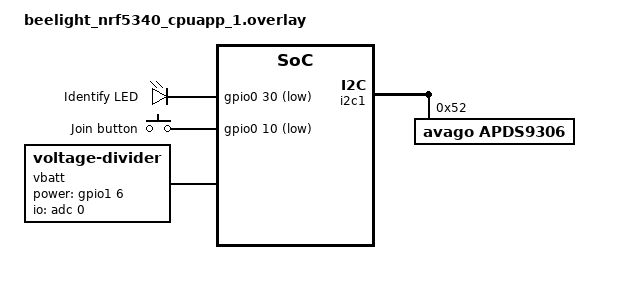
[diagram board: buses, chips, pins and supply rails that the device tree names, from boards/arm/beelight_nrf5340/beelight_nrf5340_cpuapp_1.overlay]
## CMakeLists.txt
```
cmake_minimum_required(VERSION 3.20.0)

find_package(Zephyr REQUIRED HINTS $ENV{ZEPHYR_BASE})

project(BeeLight)

# Get the target hardware
string(REGEX MATCH "beelight_nrf5340_cpuapp(_ns)?@([0-9]+)$" BEELIGHT_BOARD "${BOARD}")
if(BEELIGHT_BOARD)
    string(CONCAT VERSION_STRING "\"" ${CMAKE_MATCH_2} "\"")
    set(CONFIG_BEELIGHT_PCB_REV ${CMAKE_MATCH_2} CACHE INTERNAL "")
    set(CONFIG_BT_DIS_HW_REV_STR ${VERSION_STRING} CACHE INTERNAL "")

    message("PCB revision: " ${CONFIG_BEELIGHT_PCB_REV})
endif()

add_subdirectory(drivers)
add_subdirectory(src/events)
add_subdirectory(src/sensors)

include_directories(src/)

target_sources(app PRIVATE
                   src/main.c
)

target_include_directories(app PRIVATE
                               src/sensors
                               src/events
)
```

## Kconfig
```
menu "Zephyr Kernel"
    source "Kconfig.zephyr"
endmenu

menu "BeeLight"
    menu "Configuration"
        config CONFIG_BATTERY_SAMPLE_TIME_MIN
            int
        range 1 3600
        prompt "Battery sample time in minutes"
        default 5
    endmenu

    menu "Logging"
        rsource "src/events/Kconfig"
        rsource "src/sensors/Kconfig"
    endmenu

    menu "Custom drivers"
        rsource "drivers/Kconfig"
    endmenu
endmenu
```

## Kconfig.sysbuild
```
source "${ZEPHYR_BASE}/share/sysbuild/Kconfig"

config NRF_DEFAULT_IPC_RADIO
	default y

config NETCORE_IPC_RADIO_IEEE802154
	default y
```

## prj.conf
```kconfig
# ZBUS configuration
CONFIG_ZBUS=y
CONFIG_ZBUS_RUNTIME_OBSERVERS=y
CONFIG_ZBUS_CHANNEL_NAME=y
CONFIG_ZBUS_OBSERVER_NAME=y
CONFIG_ZBUS_CHANNELS_SYS_INIT_PRIORITY=1

# Enable DK LED and Buttons library (used by ZigBee utils)
CONFIG_DK_LIBRARY=y

# Networking
CONFIG_NET_IPV6=n
CONFIG_NET_IP_ADDR_CHECK=n

CONFIG_ZIGBEE=y
CONFIG_ZIGBEE_APP_UTILS=y
CONFIG_ZIGBEE_ROLE_END_DEVICE=y

# Scene extension
CONFIG_ZIGBEE_SCENES=n

CONFIG_ZIGBEE_USE_SOFTWARE_AES=y
CONFIG_ZIGBEE_CHANNEL_SELECTION_MODE_MULTI=y
```

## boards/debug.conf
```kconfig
CONFIG_LOG=y
CONFIG_LOG_PRINTK=y

CONFIG_DEBUG_OPTIMIZATIONS=y
CONFIG_USE_SEGGER_RTT=y
CONFIG_LOG_BACKEND_RTT=y
CONFIG_LOG_BACKEND_RTT_MODE_BLOCK=y
CONFIG_LOG_BUFFER_SIZE=4096
CONFIG_LOG_BACKEND_RTT_OUTPUT_BUFFER_SIZE=128
CONFIG_LOG_BLOCK_IN_THREAD=y
```

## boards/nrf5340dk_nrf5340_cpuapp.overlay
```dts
/ {
	chosen {
		ncs,zigbee-timer = &timer2;
	};
};

&pinctrl {
	pwm0_default_alt: pwm0_default_alt {
		group1 {
			psels = <NRF_PSEL(PWM_OUT1, 0, 31)>;
			nordic,invert;
		};
	};
};

&timer2 {
	status = "okay";
};

&i2c1 {
	bh1750: bh1750@23 {
		status = "okay";
		compatible = "rohm,bh1750";
		reg = <0x23>;
	};
};
```

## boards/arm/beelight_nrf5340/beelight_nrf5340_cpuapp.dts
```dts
/*
 * Copyright (c) 2025 Daniel Kampert
 *
 * SPDX-License-Identifier: Apache-2.0
 */

/dts-v1/;
#include <nordic/nrf5340_cpuapp_qkaa.dtsi>

#include "beelight_cpuapp_common.dtsi"

/ {
    chosen {
        zephyr,sram = &sram0_image;
        zephyr,flash = &flash0;
        zephyr,code-partition = &slot0_partition;
        zephyr,sram-secure-partition = &sram0_s;
        zephyr,sram-non-secure-partition = &sram0_ns;
    };
};
```

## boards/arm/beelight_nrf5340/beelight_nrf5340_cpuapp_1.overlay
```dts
/*
 * Copyright (c) 2025 Daniel Kampert
 *
 * SPDX-License-Identifier: Apache-2.0
 */

/ {
    leds {
        status = "okay";

        identify: led_identify {
            gpios = <&gpio0 30 GPIO_ACTIVE_LOW>;
            label = "Identify LED";
        };
    };

    buttons {
        status = "okay";
        compatible = "gpio-keys";

        join: button_join {
            gpios = <&gpio0 10 (GPIO_PULL_UP | GPIO_ACTIVE_LOW)>;
            label = "Join button";
            zephyr,code = <INPUT_KEY_3>;
        };
    };

    vbatt {
        status = "okay";
        compatible = "voltage-divider";
        io-channels = <&adc 0>;
        output-ohms = <2200>;
        full-ohms = <(8200 + 2200)>;
        power-gpios = <&gpio1 6 0>;
    };
};

&i2c1 {
    apds9306: apds9306@52 {
        status = "okay";
        compatible = "avago,apds9306";
        reg = <0x52>;
        gain = <0>;
        resolution = <0>;
        frequency = <0>;
    };
};
```

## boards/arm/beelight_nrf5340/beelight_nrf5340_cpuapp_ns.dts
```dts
/*
 * Copyright (c) 2023 Jakob Krantz
 *
 * SPDX-License-Identifier: Apache-2.0
 */

/dts-v1/;
#include <nordic/nrf5340_cpuapp_qkaa.dtsi>

#include "beelight_cpuapp_common.dtsi"

/ {
    chosen {
        zephyr,sram = &sram0_ns_app;
        zephyr,flash = &flash0;
        zephyr,code-partition = &slot0_ns_partition;
    };
};
```

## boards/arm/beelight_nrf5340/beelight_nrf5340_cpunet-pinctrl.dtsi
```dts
/*
 * Copyright (c) 2025 Daniel Kampert
 *
 * SPDX-License-Identifier: Apache-2.0
 */

&pinctrl {
    uart0_default: uart0_default {
        group1 {
            psels = <NRF_PSEL(UART_TX, 1, 1)>,
                    <NRF_PSEL(UART_RTS, 0, 11)>;
        };
        group2 {
            psels = <NRF_PSEL(UART_RX, 1, 0)>,
                    <NRF_PSEL(UART_CTS, 0, 10)>;
            bias-pull-up;
        };
    };

    uart0_sleep: uart0_sleep {
        group1 {
            psels = <NRF_PSEL(UART_TX, 1, 1)>,
                    <NRF_PSEL(UART_RX, 1, 0)>,
                    <NRF_PSEL(UART_RTS, 0, 11)>,
                    <NRF_PSEL(UART_CTS, 0, 10)>;
            low-power-enable;
        };
    };
};
```

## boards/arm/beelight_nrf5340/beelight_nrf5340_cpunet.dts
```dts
/*
 * Copyright (c) 2025 Daniel Kampert
 *
 * SPDX-License-Identifier: Apache-2.0
 */

/dts-v1/;
#include <nordic/nrf5340_cpunet_qkaa.dtsi>
#include <zephyr/dt-bindings/input/input-event-codes.h>

#include "beelight_common.dtsi"
#include "beelight_common-pinctrl.dtsi"

/ {
    model = "Nordic NRF5340 BeeLight Network";
    compatible = "nordic,beelight-nrf5340-cpunet";

    chosen {
        zephyr,bt-hci-ipc = &ipc0;
        nordic,802154-spinel-ipc = &ipc0;
        zephyr,sram = &sram1;
        zephyr,flash = &flash1;
        zephyr,code-partition = &slot0_partition;
        zephyr,ieee802154 = &ieee802154;
    };

    aliases {
        watchdog0 = &wdt0;
    };
};

&gpiote {
    status = "okay";
};

&gpio0 {
    status = "okay";
};

&gpio1 {
    status = "okay";
};

&uart0 {
    status = "disabled";
};

&flash1 {
    partitions {
        compatible = "fixed-partitions";
        #address-cells = <1>;
        #size-cells = <1>;

        boot_partition: partition@0 {
            label = "mcuboot";
            reg = <0x00000000 0xc000>;
        };
        slot0_partition: partition@c000 {
            label = "image-0";
            reg = <0x0000C000 0x17000>;
        };
        slot1_partition: partition@23000 {
            label = "image-1";
            reg = <0x00023000 0x17000>;
        };
        storage_partition: partition@3a000 {
            label = "storage";
            reg = <0x0003a000 0x6000>;
        };
    };
};

&ieee802154 {
    status = "okay";
};

/* Include default shared RAM configuration file */
#include <common/nordic/nrf5340_shared_sram_partition.dtsi>
```

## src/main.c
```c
/*
 * This file is part of the BeeLight project <https://github.com/Kampi/BeeLight>.
 * Copyright (c) 2025 Daniel Kampert.
 *
 * This program is free software: you can redistribute it and/or modify
 * it under the terms of the GNU General Public License as published by
 * the Free Software Foundation, version 3.
 *
 * This program is distributed in the hope that it will be useful, but
 * WITHOUT ANY WARRANTY; without even the implied warranty of
 * MERCHANTABILITY or FITNESS FOR A PARTICULAR PURPOSE. See the GNU
 * General Public License for more details.
 *
 * You should have received a copy of the GNU General Public License
 * along with this program. If not, see <http://www.gnu.org/licenses/>.
 */

#include <zephyr/types.h>
#include <zephyr/kernel.h>
#include <zephyr/zbus/zbus.h>
#include <zephyr/logging/log.h>
#include <zephyr/settings/settings.h>

#include <soc.h>
#include <dk_buttons_and_leds.h>

#include <zboss_api.h>
#include <zb_nrf_platform.h>
#include <zboss_api_addons.h>
#include <zb_mem_config_med.h>
#include <zigbee/zigbee_app_utils.h>
#include <zigbee/zigbee_error_handler.h>

#include "events.h"
#include "beelight.h"

/* LED indicating that light switch successfully joind Zigbee network. */
#define ZIGBEE_NETWORK_STATE_LED        DK_LED3

/* Version of the application software (1 byte). */
#define INIT_BASIC_APP_VERSION          01

/* Version of the implementation of the Zigbee stack (1 byte). */
#define INIT_BASIC_STACK_VERSION        10

/* Version of the hardware of the device (1 byte). */
#define INIT_BASIC_HW_VERSION           10

/* Manufacturer name (32 bytes). */
#define INIT_BASIC_MANUF_NAME           "Kampi"

/* Model number assigned by manufacturer (32-bytes long string). */
#define INIT_BASIC_MODEL_ID             "BeeLight_v1.0"

/* First 8 bytes specify the date of manufacturer of the device
 * in ISO 8601 format (YYYYMMDD). The rest (8 bytes) are manufacturer specific.
 */
#define INIT_BASIC_DATE_CODE            "20200329"

/* Describes the physical location of the device (16 bytes).
 * May be modified during commissioning process.
 */
#define INIT_BASIC_LOCATION_DESC        "Office desk"

/* Button used to enter the Bulb into the Identify mode. */
#define IDENTIFY_MODE_BUTTON            DK_BTN4_MSK

/* Button to start Factory Reset. */
#define FACTORY_RESET_BUTTON IDENTIFY_MODE_BUTTON

/* Define 'bat_num' as empty in order to declare default battery set attributes. */
/* According to Table 3-17 of ZCL specification, defining 'bat_num' as 2 or 3 allows */
/* to declare battery set attributes for BATTERY2 and BATTERY3. */
#define bat_num

LOG_MODULE_REGISTER(app, LOG_LEVEL_DBG);

/** @brief Zigbee device application context storage.
 */
static device_ctx_t dev_ctx;

/** @brief
 */
static void zbus_on_light_callback(const struct zbus_channel *chan);

/** @brief
 */
static void zbus_on_battery_callback(const struct zbus_channel *chan);

/** @brief Declare attribute list for Identify cluster (client).
 */
ZB_ZCL_DECLARE_IDENTIFY_CLIENT_ATTRIB_LIST(identify_client_attr_list);

/** @brief Declare attribute list for Identify cluster (server).
 */
ZB_ZCL_DECLARE_IDENTIFY_SERVER_ATTRIB_LIST(
    identify_server_attr_list,
    &dev_ctx.identify_attr.identify_time);

/** @brief
 */
ZB_ZCL_DECLARE_BASIC_ATTRIB_LIST_EXT(
    basic_attr_list,
    &dev_ctx.basic_attr.zcl_version,
    &dev_ctx.basic_attr.app_version,
    &dev_ctx.basic_attr.stack_version,
    &dev_ctx.basic_attr.hw_version,
    dev_ctx.basic_attr.mf_name,
    dev_ctx.basic_attr.model_id,
    dev_ctx.basic_attr.date_code,
    &dev_ctx.basic_attr.power_source,
    dev_ctx.basic_attr.location_id,
    &dev_ctx.basic_attr.ph_env,
    dev_ctx.basic_attr.sw_ver);

/** @brief Power cluster attributes additions data.
 */
ZB_ZCL_DECLARE_POWER_CONFIG_BATTERY_ATTRIB_LIST_EXT(
    power_attr_list,
    &dev_ctx.power_attr.voltage,
    &dev_ctx.power_attr.size,
    &dev_ctx.power_attr.quantity,
    &dev_ctx.power_attr.rated_voltage,
    &dev_ctx.power_attr.alarm_mask,
    &dev_ctx.power_attr.voltage_min_threshold,
    &dev_ctx.power_attr.percent_remaining,
    &dev_ctx.power_attr.voltage_threshold_1,
    &dev_ctx.power_attr.voltage_threshold_2,
    &dev_ctx.power_attr.voltage_threshold_3,
    &dev_ctx.power_attr.percent_min_threshold,
    &dev_ctx.power_attr.percent_threshold_1,
    &dev_ctx.power_attr.percent_threshold_2,
    &dev_ctx.power_attr.percent_threshold_3,
    &dev_ctx.power_attr.alarm_state);

/** @brief Illuminance cluster attributes additions data.
 */
ZB_ZCL_DECLARE_ILLUMINANCE_MEASUREMENT_ATTRIB_LIST(
    light_sensor_attr_list,
    &dev_ctx.illuminance_attr.measurement_attr,
    &dev_ctx.illuminance_attr.min_attr,
    &dev_ctx.illuminance_attr.max_attr);

ZB_DECLARE_LIGHT_SENSOR_CLUSTER_LIST(
    light_sensor_clusters,
    basic_attr_list,
    identify_client_attr_list,
    identify_server_attr_list,
    power_attr_list,
    light_sensor_attr_list);

ZB_DECLARE_LIGHT_SENSOR_EP(
    light_sensor_ep,
    LIGHT_SENSOR_ENDPOINT,
    light_sensor_clusters);

ZBOSS_DECLARE_DEVICE_CTX_1_EP(
    light_sensor_ctx,
    light_sensor_ep);

ZBUS_CHAN_DECLARE(light_data_chan);
ZBUS_LISTENER_DEFINE(light_data_lis, zbus_on_light_callback);

ZBUS_CHAN_DECLARE(battery_data_chan);
ZBUS_LISTENER_DEFINE(battery_data_lis, zbus_on_battery_callback);

/** @brief          Starts identifying the device.
 *  @param bufid    Unused parameter, required by ZBOSS scheduler API
 */
static void start_identifying(zb_bufid_t bufid)
{
    ZVUNUSED(bufid);

    if (ZB_JOINED()) {
        /* Check if endpoint is in identifying mode, if not, put desired endpoint in identifying mode. */
        if (dev_ctx.identify_attr.identify_time == ZB_ZCL_IDENTIFY_IDENTIFY_TIME_DEFAULT_VALUE) {

            zb_ret_t zb_err_code = zb_bdb_finding_binding_target(LIGHT_SENSOR_ENDPOINT);

            if (zb_err_code == RET_OK) {
                LOG_INF("Enter identify mode");
            } else if (zb_err_code == RET_INVALID_STATE) {
                LOG_WRN("RET_INVALID_STATE - Cannot enter identify mode");
            } else {
                ZB_ERROR_CHECK(zb_err_code);
            }
        } else {
            LOG_INF("Cancel identify mode");
            zb_bdb_finding_binding_target_cancel();
        }
    } else {
        LOG_WRN("Device not in a network - cannot enter identify mode");
    }
}

/** @brief              Callback for button events.
 *  @param button_state Bitmask containing the state of the buttons
 *  @param has_changed  Bitmask containing buttons that have changed their state
 */
static void button_changed(uint32_t button_state, uint32_t has_changed)
{
    if (IDENTIFY_MODE_BUTTON & has_changed) {
        if (IDENTIFY_MODE_BUTTON & button_state) {
        }
        /* Button changed its state to pressed */
        else {
            /* Button changed its state to released */
            if (was_factory_reset_done()) {
                /* The long press was for Factory Reset */
                LOG_DBG("After Factory Reset - ignore button release");
            }
            /* Button released before Factory Reset */
            else {

                /* Start identification mode */
                ZB_SCHEDULE_APP_CALLBACK(start_identifying, 0);
            }
        }
    }

    check_factory_reset_button(button_state, has_changed);
}

/** @brief          Function to toggle the identify LED.
 *  @param bufid    Unused parameter, required by ZBOSS scheduler API
 */
static void toggle_identify_led(zb_bufid_t bufid)
{
    static int blink_status;

    // light_bulb_set_brightness(((++blink_status) % 2) ? (255U) : (0U));
    ZB_SCHEDULE_APP_ALARM(toggle_identify_led, bufid, ZB_MILLISECONDS_TO_BEACON_INTERVAL(100));
}

/** @brief          Function to handle identify notification events.
 *  @param bufid    Unused parameter, required by ZBOSS scheduler API
 */
static void identify_cb(zb_bufid_t bufid)
{
    LOG_INF("A");

    if (bufid) {
        /* Schedule a self-scheduling function that will toggle the LED. */
        ZB_SCHEDULE_APP_CALLBACK(toggle_identify_led, bufid);
    } else {
        zb_ret_t zb_err_code;

        /* Cancel the toggling function alarm and restore current Zigbee LED state. */
        zb_err_code = ZB_SCHEDULE_APP_ALARM_CANCEL(toggle_identify_led, ZB_ALARM_ANY_PARAM);
        ZVUNUSED(zb_err_code);

        /*
        if (dev_ctx.on_off_attr.on_off) {
            light_bulb_set_brightness(dev_ctx.level_control_attr.current_level);
        } else {
            light_bulb_set_brightness(0U);
        }*/
    }
}

/** @brief Function for initializing all clusters attributes.
 */
static void clusters_attr_init(void)
{
    /* Basic cluster attributes data */
    dev_ctx.basic_attr.zcl_version = ZB_ZCL_VERSION;
    dev_ctx.basic_attr.app_version = INIT_BASIC_APP_VERSION;
    dev_ctx.basic_attr.stack_version = INIT_BASIC_STACK_VERSION;
    dev_ctx.basic_attr.hw_version = INIT_BASIC_HW_VERSION;

    /* Use ZB_ZCL_SET_STRING_VAL to set strings, because the first byte */
    /* should contain string length without trailing zero. */
    /* For example "test" string will be encoded as: */
    /*   [(0x4), 't', 'e', 's', 't'] */
    ZB_ZCL_SET_STRING_VAL(
        dev_ctx.basic_attr.mf_name,
        INIT_BASIC_MANUF_NAME,
        ZB_ZCL_STRING_CONST_SIZE(INIT_BASIC_MANUF_NAME)
    );

    ZB_ZCL_SET_STRING_VAL(
        dev_ctx.basic_attr.model_id,
        INIT_BASIC_MODEL_ID,
        ZB_ZCL_STRING_CONST_SIZE(INIT_BASIC_MODEL_ID)
    );

    ZB_ZCL_SET_STRING_VAL(
        dev_ctx.basic_attr.date_code,
        INIT_BASIC_DATE_CODE,
        ZB_ZCL_STRING_CONST_SIZE(INIT_BASIC_DATE_CODE)
    );

    dev_ctx.basic_attr.power_source = ZB_ZCL_BASIC_POWER_SOURCE_BATTERY;

    ZB_ZCL_SET_STRING_VAL(
        dev_ctx.basic_attr.location_id,
        INIT_BASIC_LOCATION_DESC,
        ZB_ZCL_STRING_CONST_SIZE(INIT_BASIC_LOCATION_DESC)
    );

    dev_ctx.basic_attr.ph_env = ZB_ZCL_BASIC_ENV_UNSPECIFIED;

    /* Identify cluster attributes data. */
    dev_ctx.identify_attr.identify_time = ZB_ZCL_IDENTIFY_IDENTIFY_TIME_DEFAULT_VALUE;

    /* Initialize the values for the Battery cluster attributes */
    dev_ctx.power_attr.size = ZB_ZCL_POWER_CONFIG_BATTERY_SIZE_CR2;
    dev_ctx.power_attr.voltage = 25;
    dev_ctx.power_attr.percent_remaining = 50;
    dev_ctx.power_attr.quantity = 1;
    dev_ctx.power_attr.rated_voltage = 30;

    ZB_ZCL_SET_ATTRIBUTE(
        LIGHT_SENSOR_ENDPOINT,
        ZB_ZCL_CLUSTER_ID_POWER_CONFIG,
        ZB_ZCL_CLUSTER_SERVER_ROLE,
        ZB_ZCL_ATTR_POWER_CONFIG_BATTERY_PERCENTAGE_REMAINING_ID,
        (zb_uint8_t *)&dev_ctx.power_attr.percent_remaining,
        ZB_FALSE
    );

    /* Initialize the values for the Illuminance measurement cluster attributes */
/*
    dev_ctx.illuminance_min_attr = 11;
    ZB_ZCL_SET_ATTRIBUTE(
        LIGHT_SENSOR_ENDPOINT,
        ZB_ZCL_CLUSTER_ID_ILLUMINANCE_MEASUREMENT,
        ZB_ZCL_CLUSTER_SERVER_ROLE,
        ZB_ZCL_ATTR_ILLUMINANCE_MEASUREMENT_MIN_MEASURED_VALUE_ID,
        (zb_uint8_t *)&dev_ctx.illuminance_min_attr,
        ZB_FALSE
    );

    dev_ctx.illuminance_max_attr = 200;
    ZB_ZCL_SET_ATTRIBUTE(
        LIGHT_SENSOR_ENDPOINT,
        ZB_ZCL_CLUSTER_ID_ILLUMINANCE_MEASUREMENT,
        ZB_ZCL_CLUSTER_SERVER_ROLE,
        ZB_ZCL_ATTR_ILLUMINANCE_MEASUREMENT_MAX_MEASURED_VALUE_ID,
        (zb_uint8_t *)&dev_ctx.illuminance_max_attr,
        ZB_FALSE
    );
*/
}

/** @brief          Callback function for handling ZCL commands.
 *  @param bufid    Reference to Zigbee stack buffer used to pass received data
 */
static void zcl_device_cb(zb_bufid_t bufid)
{
    zb_uint8_t attr_id;
    zb_uint8_t cluster_id;
    zb_zcl_device_callback_param_t *device_cb_param = ZB_BUF_GET_PARAM(bufid, zb_zcl_device_callback_param_t);

    LOG_INF("%s id %hd", __func__, device_cb_param->device_cb_id);

    /* Set default response value. */
    device_cb_param->status = RET_OK;

    switch (device_cb_param->device_cb_id)
    {
        case ZB_ZCL_SET_ATTR_VALUE_CB_ID:
        {
            cluster_id = device_cb_param->cb_param.set_attr_value_param.cluster_id;
            attr_id = device_cb_param->cb_param.set_attr_value_param.attr_id;

            break;
        }
        default:
        {
            device_cb_param->status = RET_NOT_IMPLEMENTED;
            break;
        }
    }

    LOG_INF("%s status: %hd", __func__, device_cb_param->status);
}

/** @brief          Zigbee stack event handler.
 *  @param bufid    Reference to the Zigbee stack buffer used to pass signal
 */
void zboss_signal_handler(zb_bufid_t bufid)
{
    /* Update network status LED. */
    zigbee_led_status_update(bufid, ZIGBEE_NETWORK_STATE_LED);

    /* No application-specific behavior is required. Call default signal handler. */
    ZB_ERROR_CHECK(zigbee_default_signal_handler(bufid));

    /* All callbacks should either reuse or free passed buffers. */
    /* If bufid == 0, the buffer is invalid (not passed). */
    if (bufid) {
        zb_buf_free(bufid);
    }
}

void zbus_on_light_callback(const struct zbus_channel *chan)
{
    const struct light_event *evt = zbus_chan_const_msg(chan);

    LOG_DBG("Value from light sensor: %u", evt->value);

    dev_ctx.illuminance_attr.measurement_attr = evt->value;
    ZB_ZCL_SET_ATTRIBUTE(
        LIGHT_SENSOR_ENDPOINT,
        ZB_ZCL_CLUSTER_ID_ILLUMINANCE_MEASUREMENT,
        ZB_ZCL_CLUSTER_SERVER_ROLE,
        ZB_ZCL_ATTR_ILLUMINANCE_MEASUREMENT_MEASURED_VALUE_ID,
        (zb_uint8_t *)&dev_ctx.illuminance_attr.measurement_attr,
        ZB_FALSE
    );
}

static void zbus_on_battery_callback(const struct zbus_channel *chan)
{
    const struct battery_event *evt = zbus_chan_const_msg(chan);

    LOG_DBG("Value from battery sensor: %u", evt->mV);

    /* Initialize the values for the Battery cluster attributes */
    dev_ctx.power_attr.voltage = 30;
    dev_ctx.power_attr.percent_remaining = 200;
    dev_ctx.power_attr.rated_voltage = 30;

    ZB_ZCL_SET_ATTRIBUTE(
        LIGHT_SENSOR_ENDPOINT,
        ZB_ZCL_CLUSTER_ID_POWER_CONFIG,
        ZB_ZCL_CLUSTER_SERVER_ROLE,
        ZB_ZCL_ATTR_POWER_CONFIG_BATTERY_PERCENTAGE_REMAINING_ID,
        (zb_uint8_t *)&dev_ctx.power_attr.percent_remaining,
        ZB_FALSE
    );
}

int main(void)
{
    dk_buttons_init(button_changed);
    dk_leds_init();

    register_factory_reset_button(FACTORY_RESET_BUTTON);

    /* Register callback for handling ZCL commands. */
    ZB_ZCL_REGISTER_DEVICE_CB(zcl_device_cb);

    /* Register dimmer switch device context (endpoints). */
    ZB_AF_REGISTER_DEVICE_CTX(&light_sensor_ctx);

    clusters_attr_init();

    /* Register handler to identify notifications. */
    ZB_AF_SET_IDENTIFY_NOTIFICATION_HANDLER(LIGHT_SENSOR_ENDPOINT, identify_cb);

    /* Start Zigbee default thread. */
    zigbee_enable();

    zbus_chan_add_obs(&light_data_chan, &light_data_lis, K_MSEC(100));
    zbus_chan_add_obs(&battery_data_chan, &battery_data_lis, K_MSEC(100));

    LOG_INF("BeeLight application started");

    return 0;
}
```

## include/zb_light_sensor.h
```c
#ifndef ZB_LIGHT_SENSOR_H_
#define ZB_LIGHT_SENSOR_H_

#include <zb_ha_device_config.h>

/**
 *  @defgroup ZB_DEFINE_DEVICE_HUMIDITY_SENSOR Humidity Sensor
 *  @brief See https://zigbeealliance.org/wp-content/uploads/2021/10/07-5123-08-Zigbee-Cluster-Library.pdf for additional informations
 *  @{
 *  @details
 *          Server
 *          - @ref ZB_ZCL_BASIC \n
 *          - @ref ZB_ZCL_IDENTIFY \n
 *          - @ref ZB_ZCL_CLUSTER_ID_POWER_CONFIG \n
 *          - @ref ZB_ZCL_CLUSTER_ID_ILLUMINANCE_MEASUREMENT \n
 *      
 *          Client
 *          - @ref ZB_ZCL_IDENTIFY \n
 */

/* @brief Device endpoint, used to receive light sensor results.
 */
#define LIGHT_SENSOR_ENDPOINT                   10

/** @brief
*/
#define ZB_DEVICE_VER                           1

/** @brief  ZigBee profile ID used
 *          See ZIGBEE HOME AUTOMATION PUBLIC APPLICATION PROFILE table 5.1 for additional information.
*/
#define ZB_PROFILE_ID                           ZB_AF_HA_PROFILE_ID

/** @brief  ZigBee device ID
 *          See ZIGBEE HOME AUTOMATION PUBLIC APPLICATION PROFILE table 5.1 for additional information.
*/
#define ZB_DEVICE_ID                            0x106

/** @brief Number of IN (server) clusters.
*/
#define ZB_LIGHT_SENSOR_IN_CLUSTER_NUM          4

/** @brief Number of OUT (client) clusters.
*/
#define ZB_LIGHT_SENSOR_OUT_CLUSTER_NUM         1

/** @brief Number of attributes.
*/
#define ZB_LIGHT_SENSOR_REPORT_ATTR_COUNT       (ZB_ZCL_ILLUMINANCE_MEASUREMENT_REPORT_ATTR_COUNT + 7)

/** @brief Continuous value change attribute count.
*/
#define ZB_LIGHT_SENSOR_CVC_ATTR_COUNT          1

/* */
typedef struct {
    zb_uint8_t voltage;                 /**< Attribute 3.3.2.2.3.1 */
    zb_uint8_t size;                    /**< Attribute 3.3.2.2.4.2 */
    zb_uint8_t quantity;                /**< Attribute 3.3.2.2.4.4 */
    zb_uint8_t rated_voltage;           /**< Attribute 3.3.2.2.4.5 */
    zb_uint8_t alarm_mask;              /**< Attribute 3.3.2.2.4.6 */
    zb_uint8_t voltage_min_threshold;   /**< Attribute 3.3.2.2.4.7 */
    zb_uint8_t percent_remaining;       /**< Attribute 3.3.2.2.3.1
                                             NOTE: A value of 200  is equal to 100%! */
    zb_uint8_t voltage_threshold_1;     /**< Attribute 3.3.2.2.4.8 */
    zb_uint8_t voltage_threshold_2;     /**< Attribute 3.3.2.2.4.8 */
    zb_uint8_t voltage_threshold_3;     /**< Attribute 3.3.2.2.4.8 */
    zb_uint8_t percent_min_threshold;   /**< Attribute 3.3.2.2.4.9 */
    zb_uint8_t percent_threshold_1;     /**< Attribute 3.3.2.2.4.10 */
    zb_uint8_t percent_threshold_2;     /**< Attribute 3.3.2.2.4.10 */
    zb_uint8_t percent_threshold_3;     /**< Attribute 3.3.2.2.4.10 */
    zb_uint32_t alarm_state;            /**< Attribute 3.3.2.2.4.11 */
} zb_zcl_power_attrs_t;

/* */
typedef struct {
    zb_uint16_t measurement_attr;       /**< Attribute 4.2.2.2.1 */
    zb_uint16_t min_attr;               /**< Attribute 4.2.2.2.2 */
    zb_uint16_t max_attr;               /**< Attribute 4.2.2.2.3 */
} zb_zcl_illuminance_attrs_t;

/** @brief Main application customizable context. Stores all settings and static values.
 */
typedef struct {
    zb_zcl_basic_attrs_ext_t basic_attr;
    zb_zcl_identify_attrs_t identify_attr;
    zb_zcl_groups_attrs_t groups_attr;
    zb_zcl_power_attrs_t power_attr;
    zb_zcl_illuminance_attrs_t illuminance_attr;
} device_ctx_t;

/** @brief                              Declare the cluster list for the Light Sensor device.
 *  @param cluster_list_name            Cluster list variable name
 *  @param basic_attr_list              Attribute list for Basic cluster
 *  @param identify_client_attr_list    Attribute list for Identify cluster (Client)
 *  @param identify_server_attr_list    Attribute list for Identify cluster (Server)
 *  @param power_attr_list              Attribute list for Power cluster
 *  @param measure_attr_list            Attribute list for Illuminance Measurement cluster
 */
#define ZB_DECLARE_LIGHT_SENSOR_CLUSTER_LIST(                               \
    cluster_list_name,                                                      \
    basic_attr_list,                                                        \
	identify_client_attr_list,                                              \
	identify_server_attr_list,                                              \
    power_attr_list,                                                        \
    measure_attr_list)                                                      \
    zb_zcl_cluster_desc_t cluster_list_name[] =                             \
    {                                                                       \
        ZB_ZCL_CLUSTER_DESC(                                                \
            ZB_ZCL_CLUSTER_ID_BASIC,                                        \
            ZB_ZCL_ARRAY_SIZE(basic_attr_list, zb_zcl_attr_t),              \
            (basic_attr_list),                                              \
            ZB_ZCL_CLUSTER_SERVER_ROLE,                                     \
            ZB_ZCL_MANUF_CODE_INVALID                                       \
        ),                                                                  \
        ZB_ZCL_CLUSTER_DESC(                                                \
            ZB_ZCL_CLUSTER_ID_IDENTIFY,                                     \
            ZB_ZCL_ARRAY_SIZE(identify_server_attr_list, zb_zcl_attr_t),    \
            (identify_server_attr_list),                                    \
            ZB_ZCL_CLUSTER_SERVER_ROLE,                                     \
            ZB_ZCL_MANUF_CODE_INVALID                                       \
        ),                                                                  \
        ZB_ZCL_CLUSTER_DESC(                                                \
            ZB_ZCL_CLUSTER_ID_POWER_CONFIG,                                 \
            ZB_ZCL_ARRAY_SIZE(power_attr_list, zb_zcl_attr_t),              \
            (power_attr_list),                                              \
            ZB_ZCL_CLUSTER_SERVER_ROLE,                                     \
            ZB_ZCL_MANUF_CODE_INVALID                                       \
        ),                                                                  \
        ZB_ZCL_CLUSTER_DESC(                                                \
            ZB_ZCL_CLUSTER_ID_ILLUMINANCE_MEASUREMENT,                      \
            ZB_ZCL_ARRAY_SIZE(measure_attr_list, zb_zcl_attr_t),            \
            (measure_attr_list),                                            \
            ZB_ZCL_CLUSTER_SERVER_ROLE,                                     \
            ZB_ZCL_MANUF_CODE_INVALID                                       \
        ),                                                                  \
        ZB_ZCL_CLUSTER_DESC(                                                \
            ZB_ZCL_CLUSTER_ID_IDENTIFY,                                     \
            ZB_ZCL_ARRAY_SIZE(identify_client_attr_list, zb_zcl_attr_t),    \
            (identify_client_attr_list),                                    \
            ZB_ZCL_CLUSTER_CLIENT_ROLE,                                     \
            ZB_ZCL_MANUF_CODE_INVALID                                       \
        )                                                                   \
    }

/** @brief                  Declare simple descriptor for Light Sensor device.
 *  @param ep_name          Endpoint variable name
 *  @param ep_id            Endpoint ID
 *  @param in_clust_num     Number of supported input clusters
 *  @param out_clust_num    Number of supported output clusters
 */
#define ZB_ZCL_DECLARE_HA_LIGHT_SENSOR_SIMPLE_DESC(ep_name, ep_id, in_clust_num, out_clust_num) \
    ZB_DECLARE_SIMPLE_DESC(in_clust_num, out_clust_num);                                        \
    ZB_AF_SIMPLE_DESC_TYPE(in_clust_num, out_clust_num) simple_desc_##ep_name =                 \
    {                                                                                           \
        ep_id,                                                                                  \
        ZB_PROFILE_ID,                                                                          \
        ZB_DEVICE_ID,                                                                           \
        ZB_DEVICE_VER,                                                                          \
        0,                                                                                      \
        in_clust_num,                                                                           \
        out_clust_num,                                                                          \
        {                                                                                       \
            ZB_ZCL_CLUSTER_ID_BASIC,                                                            \
            ZB_ZCL_CLUSTER_ID_IDENTIFY,                                                         \
            ZB_ZCL_CLUSTER_ID_POWER_CONFIG,                                                     \
            ZB_ZCL_CLUSTER_ID_ILLUMINANCE_MEASUREMENT,                                          \
            ZB_ZCL_CLUSTER_ID_IDENTIFY,                                                         \
        }                                                                                       \
    }

/** @brief                  Declare endpoint for the Light Sensor device.
 *  @param ep_name          Endpoint variable name
 *  @param ep_id            Endpoint ID
 *  @param cluster_list     Endpoint cluster list
 */
#define ZB_DECLARE_LIGHT_SENSOR_EP(ep_name, ep_id, cluster_list)                \
    ZB_ZCL_DECLARE_HA_LIGHT_SENSOR_SIMPLE_DESC(                                 \
        ep_name,                                                                \
        ep_id,                                                                  \
        ZB_LIGHT_SENSOR_IN_CLUSTER_NUM,                                         \
        ZB_LIGHT_SENSOR_OUT_CLUSTER_NUM                                         \
    );                                                                          \
    ZBOSS_DEVICE_DECLARE_REPORTING_CTX(                                         \
        reporting_info##ep_name,                                                \
        ZB_LIGHT_SENSOR_REPORT_ATTR_COUNT                                       \
    );                                                                          \
    ZB_AF_DECLARE_ENDPOINT_DESC(                                                \
        ep_name,                                                                \
        ep_id,                                                                  \
        ZB_PROFILE_ID,                                                          \
        0,                                                                      \
        NULL,                                                                   \
        ZB_ZCL_ARRAY_SIZE(cluster_list, zb_zcl_cluster_desc_t),                 \
        cluster_list,                                                           \
        (zb_af_simple_desc_1_1_t *)&simple_desc_##ep_name,                      \
        ZB_LIGHT_SENSOR_REPORT_ATTR_COUNT,                                      \
        reporting_info##ep_name,                                                \
        0,                                                                      \
        NULL                                                                    \
    )

#endif /* ZB_LIGHT_SENSOR_H_ */
```
